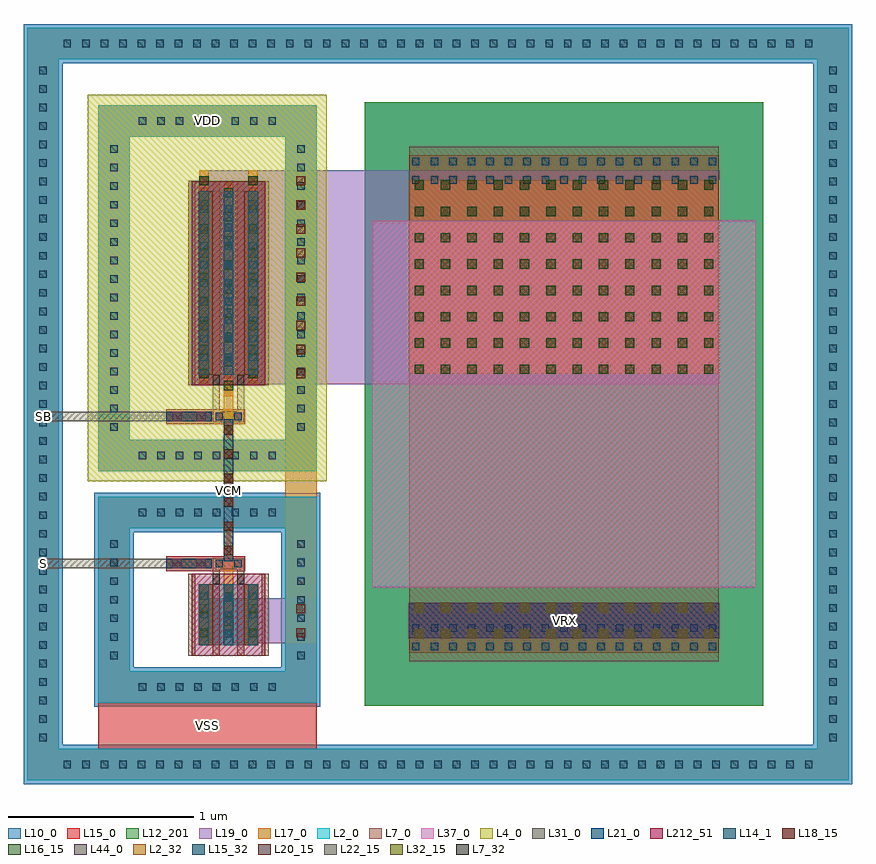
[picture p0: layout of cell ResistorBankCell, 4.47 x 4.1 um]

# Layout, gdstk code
import gdstk
lib = gdstk.Library(unit=1e-6, precision=1e-09)
def R(c, l, rs):  # rectangles x0, y0, x1, y1
    for r in rs: c.add(gdstk.rectangle(r[:2], r[2:], *l))
def A(c, l, x, y, w, h, nx, ny, dx, dy):  # array of equal rectangles
    R(c, l, [(x+i*dx, y+j*dy, x+i*dx+w, y+j*dy+h) for i in range(nx) for j in range(ny)])
def P(c, l, *ps):  # polygons
    for p in ps: c.add(gdstk.Polygon(p, *l))
L2_0 = (2, 0)
L2_32 = (2, 32)
L4_0 = (4, 0)
L7_0 = (7, 0)
L7_32 = (7, 32)
L10_0 = (10, 0)
L12_201 = (12, 201)
L14_1 = (14, 1)
L15_0 = (15, 0)
L15_32 = (15, 32)
L16_15 = (16, 15)
L17_0 = (17, 0)
L18_15 = (18, 15)
L19_0 = (19, 0)
L20_15 = (20, 15)
L21_0 = (21, 0)
L22_15 = (22, 15)
L31_0 = (31, 0)
L32_15 = (32, 15)
L37_0 = (37, 0)
L44_0 = (44, 0)
L212_51 = (212, 51)

nmosintransmissiongate = lib.new_cell('NMOSInTransmissionGate')
R(nmosintransmissiongate, L2_0, [(-0.16,-0.165,0.16,0.165)])
R(nmosintransmissiongate, L2_32, [(-0.16,-0.165,-0.084,0.165), (0.084,-0.165,0.16,0.165)])
A(nmosintransmissiongate, L7_0, -0.216, -0.222, 0.036, 0.444, 4, 1, 0.132, 0)
R(nmosintransmissiongate, L7_32, [(-0.084,-0.222,-0.048,-0.165), (0.048,-0.222,0.084,-0.165)])
A(nmosintransmissiongate, L14_1, -0.152, -0.12, 0.04, 0.04, 3, 3, 0.132, 0.1)
A(nmosintransmissiongate, L15_0, -0.157, -0.165, 0.05, 0.33, 3, 1, 0.132, 0)
A(nmosintransmissiongate, L15_32, -0.157, -0.165, 0.05, 0.33, 3, 1, 0.132, 0)
R(nmosintransmissiongate, L212_51, [(-0.198,-0.221,0.198,0.221)])

pmosintransmissiongate = lib.new_cell('PMOSInTransmissionGate')
R(pmosintransmissiongate, L2_0, [(-0.16,-0.495,0.16,0.495)])
R(pmosintransmissiongate, L2_32, [(-0.16,-0.495,-0.084,0.495), (0.084,-0.495,0.16,0.495)])
A(pmosintransmissiongate, L7_0, -0.216, -0.552, 0.036, 1.104, 4, 1, 0.132, 0)
R(pmosintransmissiongate, L7_32, [(-0.084,-0.552,-0.048,-0.495), (0.048,-0.552,0.084,-0.495)])
R(pmosintransmissiongate, L10_0, [(-0.216,-0.552,0.216,0.552)])
A(pmosintransmissiongate, L14_1, -0.152, -0.42, 0.04, 0.04, 3, 9, 0.132, 0.1)
A(pmosintransmissiongate, L15_0, -0.157, -0.495, 0.05, 0.99, 3, 1, 0.132, 0)
A(pmosintransmissiongate, L15_32, -0.157, -0.495, 0.05, 0.99, 3, 1, 0.132, 0)
R(pmosintransmissiongate, L212_51, [(-0.198,-0.551,0.198,0.551)])

viamet12met2onpmosoutput = lib.new_cell('ViaMet12Met2OnPMOSOutputInTransmissionGate')
R(viamet12met2onpmosoutput, L15_0, [(-0.025,-0.577,0.025,0.577)])
A(viamet12met2onpmosoutput, L16_15, -0.025, -0.545, 0.05, 0.05, 1, 9, 0, 0.13)
R(viamet12met2onpmosoutput, L17_0, [(-0.025,-0.577,0.025,0.577)])

viamet22met3onpmosoutput = lib.new_cell('ViaMet22Met3OnPMOSOutputInTransmissionGate')
R(viamet22met3onpmosoutput, L17_0, [(-0.025,-0.577,0.025,0.577)])
A(viamet22met3onpmosoutput, L18_15, -0.025, -0.545, 0.05, 0.05, 1, 9, 0, 0.13)
R(viamet22met3onpmosoutput, L19_0, [(-0.025,-0.577,0.025,0.577)])

viamet12met2onnmosoutput = lib.new_cell('ViaMet12Met2OnNMOSOutputInTransmissionGate')
R(viamet12met2onnmosoutput, L15_0, [(-0.025,-0.122,0.025,0.122)])
R(viamet12met2onnmosoutput, L16_15, [(-0.025,-0.09,0.025,-0.04), (-0.025,0.04,0.025,0.09)])
R(viamet12met2onnmosoutput, L17_0, [(-0.025,-0.122,0.025,0.122)])

viamet22met3onnmosoutput = lib.new_cell('ViaMet22Met3OnNMOSOutputInTransmissionGate')
R(viamet22met3onnmosoutput, L17_0, [(-0.025,-0.122,0.025,0.122)])
R(viamet22met3onnmosoutput, L18_15, [(-0.025,-0.09,0.025,-0.04), (-0.025,0.04,0.025,0.09)])
R(viamet22met3onnmosoutput, L19_0, [(-0.025,-0.122,0.025,0.122)])

viapoly2met1onpmoscontro = lib.new_cell('ViaPoly2Met1OnPMOSControlInTransmissionGate')
R(viapoly2met1onpmoscontro, L7_0, [(-0.08,-0.03,0.08,0.03)])
R(viapoly2met1onpmoscontro, L14_1, [(-0.07,-0.02,-0.03,0.02), (0.03,-0.02,0.07,0.02)])
R(viapoly2met1onpmoscontro, L15_0, [(-0.091,-0.041,0.091,0.041)])

viapoly2met1onnmoscontro = lib.new_cell('ViaPoly2Met1OnNMOSControlInTransmissionGate')
R(viapoly2met1onnmoscontro, L7_0, [(-0.08,-0.03,0.08,0.03)])
R(viapoly2met1onnmoscontro, L14_1, [(-0.07,-0.02,-0.03,0.02), (0.03,-0.02,0.07,0.02)])
R(viapoly2met1onnmoscontro, L15_0, [(-0.091,-0.041,0.091,0.041)])

transmissiongateinresist = lib.new_cell('TransmissionGateInResistorBank')
transmissiongateinresist.add(gdstk.FlexPath([(-0.066,0.39),(-0.066,0.696)], 0.036, ends="flush", simple_path=True, layer=7, datatype=0))  # L7_0
transmissiongateinresist.add(gdstk.FlexPath([(0.066,0.39),(0.066,0.696)], 0.036, ends="flush", simple_path=True, layer=7, datatype=0))  # L7_0
transmissiongateinresist.add(gdstk.FlexPath([(-0.066,2.179),(-0.066,1.429)], 0.036, ends="flush", simple_path=True, layer=7, datatype=0))  # L7_0
transmissiongateinresist.add(gdstk.FlexPath([(0.066,2.179),(0.066,1.429)], 0.036, ends="flush", simple_path=True, layer=7, datatype=0))  # L7_0
transmissiongateinresist.add(gdstk.FlexPath([(-0.066,0.666),(0.066,0.666)], 0.06, ends="flush", simple_path=True, layer=7, datatype=0))  # L7_0
transmissiongateinresist.add(gdstk.FlexPath([(-0.066,1.459),(0.066,1.459)], 0.06, ends="flush", simple_path=True, layer=7, datatype=0))  # L7_0
transmissiongateinresist.add(gdstk.Reference(nmosintransmissiongate, (0,0.39), x_reflection=True))
transmissiongateinresist.add(gdstk.Reference(pmosintransmissiongate, (0,2.179)))
transmissiongateinresist.add(gdstk.Reference(viamet12met2onpmosoutput, (0,2.147)))
transmissiongateinresist.add(gdstk.Reference(viamet12met2onpmosoutput, (-0.132,2.211)))
transmissiongateinresist.add(gdstk.Reference(viamet12met2onpmosoutput, (0.132,2.211)))
transmissiongateinresist.add(gdstk.Reference(viamet22met3onpmosoutput, (-0.132,2.211)))
transmissiongateinresist.add(gdstk.Reference(viamet22met3onpmosoutput, (0.132,2.211)))
transmissiongateinresist.add(gdstk.Reference(viamet12met2onnmosoutput, (0,0.422)))
transmissiongateinresist.add(gdstk.Reference(viamet12met2onnmosoutput, (-0.132,0.358)))
transmissiongateinresist.add(gdstk.Reference(viamet12met2onnmosoutput, (0.132,0.358)))
transmissiongateinresist.add(gdstk.Reference(viamet22met3onnmosoutput, (-0.132,0.358)))
transmissiongateinresist.add(gdstk.Reference(viamet22met3onnmosoutput, (0.132,0.358)))
transmissiongateinresist.add(gdstk.Reference(viapoly2met1onpmoscontro, (0,1.459)))
transmissiongateinresist.add(gdstk.Reference(viapoly2met1onnmoscontro, (0,0.666)))

viamet12met2oninputinres = lib.new_cell('ViaMet12Met2OnInputInResistorBank')
R(viamet12met2oninputinres, L15_0, [(-0.122,-0.025,0.122,0.025)])
R(viamet12met2oninputinres, L16_15, [(-0.09,-0.025,-0.04,0.025), (0.04,-0.025,0.09,0.025)])
R(viamet12met2oninputinres, L17_0, [(-0.122,-0.025,0.122,0.025)])

viamet22met3oninputinres = lib.new_cell('ViaMet22Met3OnInputInResistorBank')
R(viamet22met3oninputinres, L17_0, [(-0.122,-0.025,0.122,0.025)])
R(viamet22met3oninputinres, L18_15, [(-0.09,-0.025,-0.04,0.025), (0.04,-0.025,0.09,0.025)])
R(viamet22met3oninputinres, L19_0, [(-0.122,-0.025,0.122,0.025)])

viamet32met4oninputinres = lib.new_cell('ViaMet32Met4OnInputInResistorBank')
R(viamet32met4oninputinres, L19_0, [(-0.122,-0.025,0.122,0.025)])
R(viamet32met4oninputinres, L20_15, [(-0.09,-0.025,-0.04,0.025), (0.04,-0.025,0.09,0.025)])
R(viamet32met4oninputinres, L21_0, [(-0.122,-0.025,0.122,0.025)])

viamet42met5oninputinres = lib.new_cell('ViaMet42Met5OnInputInResistorBank')
R(viamet42met5oninputinres, L21_0, [(-0.122,-0.025,0.122,0.025)])
R(viamet42met5oninputinres, L22_15, [(-0.09,-0.025,-0.04,0.025), (0.04,-0.025,0.09,0.025)])
R(viamet42met5oninputinres, L31_0, [(-0.122,-0.025,0.122,0.025)])

opppcresinresistorbank = lib.new_cell('OpppcresInResistorBank')
R(opppcresinresistorbank, L7_0, [(-0.834,-1.389,0.834,1.389)])
R(opppcresinresistorbank, L10_0, [(-1.074,-1.629,1.074,1.629)])
R(opppcresinresistorbank, L12_201, [(-1.074,-1.629,1.074,1.629)])
A(opppcresinresistorbank, L14_1, -0.82, -1.329, 0.04, 0.04, 17, 2, 0.1, 0.1)
A(opppcresinresistorbank, L14_1, -0.82, 1.189, 0.04, 0.04, 17, 2, 0.1, 0.1)
R(opppcresinresistorbank, L15_0, [(-0.832,-1.341,0.832,-1.177), (-0.832,1.177,0.832,1.341)])
R(opppcresinresistorbank, L37_0, [(-1.034,-0.989,1.034,0.989)])

pmossubringinresistorban = lib.new_cell('PMOSSubringInResistorBank')
R(pmossubringinresistorban, L2_0, [(-0.589,-0.987,0.589,-0.817), (-0.589,-0.987,-0.419,0.987), (0.419,-0.987,0.589,0.987), (-0.589,0.817,0.589,0.987)])
A(pmossubringinresistorban, L14_1, -0.37, -0.922, 0.04, 0.04, 8, 2, 0.1, 1.804)
A(pmossubringinresistorban, L14_1, -0.524, -0.77, 0.04, 0.04, 1, 16, 0, 0.1)
A(pmossubringinresistorban, L14_1, 0.484, -0.77, 0.04, 0.04, 1, 16, 0, 0.1)
R(pmossubringinresistorban, L15_0, [(-0.589,-0.987,0.589,-0.817), (-0.589,-0.987,-0.419,0.987), (0.419,-0.987,0.589,0.987), (-0.589,0.817,0.589,0.987)])
pmossubringinresistorban.add(gdstk.FlexPath([(0.504,1.043),(0.504,-0.902),(-0.504,-0.902),(-0.504,0.902),(0.645,0.902)], 0.282, ends="flush", simple_path=True, layer=4, datatype=0))  # L4_0

nmossubringinresistorban = lib.new_cell('NMOSSubringInResistorBank')
R(nmossubringinresistorban, L2_0, [(-0.589,-0.556,0.589,-0.386), (-0.589,-0.556,-0.419,0.556), (0.419,-0.556,0.589,0.556), (-0.589,0.386,0.589,0.556)])
A(nmossubringinresistorban, L14_1, -0.37, -0.491, 0.04, 0.04, 8, 2, 0.1, 0.942)
A(nmossubringinresistorban, L14_1, -0.524, -0.32, 0.04, 0.04, 1, 7, 0, 0.1)
A(nmossubringinresistorban, L14_1, 0.484, -0.32, 0.04, 0.04, 1, 7, 0, 0.1)
R(nmossubringinresistorban, L15_0, [(-0.589,-0.556,0.589,-0.386), (-0.589,-0.556,-0.419,0.556), (0.419,-0.556,0.589,0.556), (-0.589,0.386,0.589,0.556)])
nmossubringinresistorban.add(gdstk.FlexPath([(0.504,0.577),(0.504,-0.471),(-0.504,-0.471),(-0.504,0.471),(0.61,0.471)], 0.212, ends="flush", simple_path=True, layer=10, datatype=0))  # L10_0

totalsubringinresistorba = lib.new_cell('TotalSubringInResistorBank')
R(totalsubringinresistorba, L2_0, [(-2.215,-2.029,2.215,-1.859), (-2.215,-2.029,-2.045,2.029), (2.045,-2.029,2.215,2.029), (-2.215,1.859,2.215,2.029)])
A(totalsubringinresistorba, L14_1, -2.02, -1.964, 0.04, 0.04, 41, 2, 0.1, 3.888)
A(totalsubringinresistorba, L14_1, -2.15, -1.82, 0.04, 0.04, 1, 37, 0, 0.1)
A(totalsubringinresistorba, L14_1, 2.11, -1.82, 0.04, 0.04, 1, 37, 0, 0.1)
R(totalsubringinresistorba, L15_0, [(-2.215,-2.029,2.215,-1.859), (-2.215,-2.029,-2.045,2.029), (2.045,-2.029,2.215,2.029), (-2.215,1.859,2.215,2.029)])
totalsubringinresistorba.add(gdstk.FlexPath([(2.13,2.05),(2.13,-1.944),(-2.13,-1.944),(-2.13,1.944),(2.236,1.944)], 0.212, ends="flush", simple_path=True, layer=10, datatype=0))  # L10_0

viamet12met2onresistorin = lib.new_cell('ViaMet12Met2OnResistorInResistorBank')
R(viamet12met2onresistorin, L15_0, [(-0.838,-0.522,0.838,0.522)])
A(viamet12met2onresistorin, L16_15, -0.806, -0.522, 0.05, 0.05, 12, 8, 0.142, 0.142)
R(viamet12met2onresistorin, L17_0, [(-0.838,-0.522,0.838,0.522)])

viamet12met2onresistor1i = lib.new_cell('ViaMet12Met2OnResistor1InResistorBank')
R(viamet12met2onresistor1i, L15_0, [(-0.838,-0.096,0.838,0.096)])
A(viamet12met2onresistor1i, L16_15, -0.806, -0.096, 0.05, 0.05, 12, 2, 0.142, 0.142)
R(viamet12met2onresistor1i, L17_0, [(-0.838,-0.096,0.838,0.096)])

viamet22met3onresistorin = lib.new_cell('ViaMet22Met3OnResistorInResistorBank')
R(viamet22met3onresistorin, L17_0, [(-0.838,-0.522,0.838,0.522)])
A(viamet22met3onresistorin, L18_15, -0.806, -0.522, 0.05, 0.05, 12, 8, 0.142, 0.142)
R(viamet22met3onresistorin, L19_0, [(-0.838,-0.522,0.838,0.522)])

viamet22met3onresistor1i = lib.new_cell('ViaMet22Met3OnResistor1InResistorBank')
R(viamet22met3onresistor1i, L17_0, [(-0.838,-0.096,0.838,0.096)])
A(viamet22met3onresistor1i, L18_15, -0.806, -0.096, 0.05, 0.05, 12, 2, 0.142, 0.142)
R(viamet22met3onresistor1i, L19_0, [(-0.838,-0.096,0.838,0.096)])

viamet32met4onresistorin = lib.new_cell('ViaMet32Met4OnResistorInResistorBank')
R(viamet32met4onresistorin, L19_0, [(-0.838,-0.096,0.838,0.096)])
A(viamet32met4onresistorin, L20_15, -0.806, -0.096, 0.05, 0.05, 12, 2, 0.142, 0.142)
R(viamet32met4onresistorin, L21_0, [(-0.838,-0.096,0.838,0.096)])

viamet42met5onresistorin = lib.new_cell('ViaMet42Met5OnResistorInResistorBank')
R(viamet42met5onresistorin, L21_0, [(-0.838,-0.096,0.838,0.096)])
A(viamet42met5onresistorin, L22_15, -0.806, -0.096, 0.05, 0.05, 12, 2, 0.142, 0.142)
R(viamet42met5onresistorin, L31_0, [(-0.838,-0.096,0.838,0.096)])

viamet52met6onresistorin = lib.new_cell('ViaMet52Met6OnResistorInResistorBank')
R(viamet52met6onresistorin, L31_0, [(-0.838,-0.096,0.838,0.096)])
A(viamet52met6onresistorin, L32_15, -0.806, -0.096, 0.05, 0.05, 12, 2, 0.142, 0.142)
R(viamet52met6onresistorin, L44_0, [(-0.838,-0.096,0.838,0.096)])

viavcmmet22met3inresisto = lib.new_cell('ViaVCMMet22Met3InResistorBank')
R(viavcmmet22met3inresisto, L17_0, [(-0.025,-0.382,0.025,0.382)])
A(viavcmmet22met3inresisto, L18_15, -0.025, -0.35, 0.05, 0.05, 1, 6, 0, 0.13)
R(viavcmmet22met3inresisto, L19_0, [(-0.025,-0.382,0.025,0.382)])

viavcmmet32met4inresisto = lib.new_cell('ViaVCMMet32Met4InResistorBank')
R(viavcmmet32met4inresisto, L19_0, [(-0.025,-0.382,0.025,0.382)])
A(viavcmmet32met4inresisto, L20_15, -0.025, -0.35, 0.05, 0.05, 1, 6, 0, 0.13)
R(viavcmmet32met4inresisto, L21_0, [(-0.025,-0.382,0.025,0.382)])

viatgpmos2resmet22met3in = lib.new_cell('ViaTGPMOS2ResMet22Met3InResistorBank')
R(viatgpmos2resmet22met3in, L17_0, [(-0.057,-0.545,0.057,0.545)])
A(viatgpmos2resmet22met3in, L18_15, -0.025, -0.545, 0.05, 0.05, 1, 9, 0, 0.13)
R(viatgpmos2resmet22met3in, L19_0, [(-0.057,-0.545,0.057,0.545)])

viatgnmos2resmet22met3in = lib.new_cell('ViaTGNMOS2ResMet22Met3InResistorBank')
R(viatgnmos2resmet22met3in, L17_0, [(-0.057,-0.09,0.057,0.09)])
R(viatgnmos2resmet22met3in, L18_15, [(-0.025,-0.09,0.025,-0.04), (-0.025,0.04,0.025,0.09)])
R(viatgnmos2resmet22met3in, L19_0, [(-0.057,-0.09,0.057,0.09)])

resistorbankcell = lib.new_cell('ResistorBankCell')
R(resistorbankcell, L15_0, [(-0.703,-0.502,0.475,0.084)])
R(resistorbankcell, L17_0, [(-0.025,0.3,0.025,2.724)])
P(resistorbankcell, L21_0, [(0,0.68),(0,0.68),(0,1.444),(0,1.444)])
resistorbankcell.add(gdstk.FlexPath([(-0.213,1.459),(-1,1.459)], 0.05, ends="flush", simple_path=True, layer=31, datatype=0))  # L31_0
resistorbankcell.add(gdstk.FlexPath([(-0.213,0.666),(-1,0.666)], 0.05, ends="flush", simple_path=True, layer=31, datatype=0))  # L31_0
resistorbankcell.add(gdstk.FlexPath([(-0.533,2.152),(0.305,2.152)], 1.634, ends="flush", simple_path=True, layer=4, datatype=0))  # L4_0
resistorbankcell.add(gdstk.FlexPath([(-0.335,1.459),(0,1.459)], 0.082, ends="flush", simple_path=True, layer=15, datatype=0))  # L15_0
resistorbankcell.add(gdstk.FlexPath([(-0.335,0.666),(0,0.666)], 0.082, ends="flush", simple_path=True, layer=15, datatype=0))  # L15_0
resistorbankcell.add(gdstk.FlexPath([(1.81,1.689),(1.81,2.868)], 1.676, ends="flush", simple_path=True, layer=15, datatype=0))  # L15_0
resistorbankcell.add(gdstk.FlexPath([(1.81,0.454),(1.81,0.186)], 1.676, ends="flush", simple_path=True, layer=15, datatype=0))  # L15_0
resistorbankcell.add(gdstk.FlexPath([(-0.132,2.211),(2.648,2.211)], 1.154, ends="flush", simple_path=True, layer=19, datatype=0))  # L19_0
resistorbankcell.add(gdstk.FlexPath([(-0.132,0.358),(0.475,0.358)], 0.244, ends="flush", simple_path=True, layer=19, datatype=0))  # L19_0
resistorbankcell.add(gdstk.FlexPath([(0.39,2.788),(0.39,0.236)], 0.17, ends="flush", simple_path=True, layer=17, datatype=0))  # L17_0
resistorbankcell.add(gdstk.Reference(transmissiongateinresist, (0,0)))
resistorbankcell.add(gdstk.Reference(viamet12met2oninputinres, (-0.213,1.459)))
resistorbankcell.add(gdstk.Reference(viamet12met2oninputinres, (-0.213,0.666)))
resistorbankcell.add(gdstk.Reference(viamet22met3oninputinres, (-0.213,1.459)))
resistorbankcell.add(gdstk.Reference(viamet22met3oninputinres, (-0.213,0.666)))
resistorbankcell.add(gdstk.Reference(viamet32met4oninputinres, (-0.213,1.459)))
resistorbankcell.add(gdstk.Reference(viamet32met4oninputinres, (-0.213,0.666)))
resistorbankcell.add(gdstk.Reference(viamet42met5oninputinres, (-0.213,1.459)))
resistorbankcell.add(gdstk.Reference(viamet42met5oninputinres, (-0.213,0.666)))
resistorbankcell.add(gdstk.Reference(opppcresinresistorbank, (1.81,1.527)))
resistorbankcell.add(gdstk.Reference(pmossubringinresistorban, (-0.114,2.152)))
resistorbankcell.add(gdstk.Reference(nmossubringinresistorban, (-0.114,0.471)))
resistorbankcell.add(gdstk.Reference(totalsubringinresistorba, (1.13,1.527)))
resistorbankcell.add(gdstk.Reference(viamet12met2onresistorin, (1.81,2.211)))
resistorbankcell.add(gdstk.Reference(viamet12met2onresistor1i, (1.81,0.358)))
resistorbankcell.add(gdstk.Reference(viamet22met3onresistorin, (1.81,2.211)))
resistorbankcell.add(gdstk.Reference(viamet22met3onresistor1i, (1.81,0.358)))
resistorbankcell.add(gdstk.Reference(viamet32met4onresistorin, (1.81,0.358)))
resistorbankcell.add(gdstk.Reference(viamet42met5onresistorin, (1.81,0.358)))
resistorbankcell.add(gdstk.Reference(viamet52met6onresistorin, (1.81,0.358)))
resistorbankcell.add(gdstk.Reference(viavcmmet22met3inresisto, (0,1.062)))
resistorbankcell.add(gdstk.Reference(viavcmmet32met4inresisto, (0,1.062)))
resistorbankcell.add(gdstk.Reference(viatgpmos2resmet22met3in, (0.39,2.211)))
resistorbankcell.add(gdstk.Reference(viatgnmos2resmet22met3in, (0.39,0.358)))
resistorbankcell.add(gdstk.Label('VDD', (-0.114,3.054), layer=15, texttype=20))
resistorbankcell.add(gdstk.Label('VSS', (-0.114,-0.209), layer=15, texttype=20))
resistorbankcell.add(gdstk.Label('S', (-1,0.666), layer=31, texttype=20))
resistorbankcell.add(gdstk.Label('SB', (-1,1.459), layer=31, texttype=20))
resistorbankcell.add(gdstk.Label('VRX', (1.81,0.358), layer=44, texttype=20))
resistorbankcell.add(gdstk.Label('VCM', (0,1.062), layer=21, texttype=20))

lib.write_gds('ResistorBankCell.gds')
